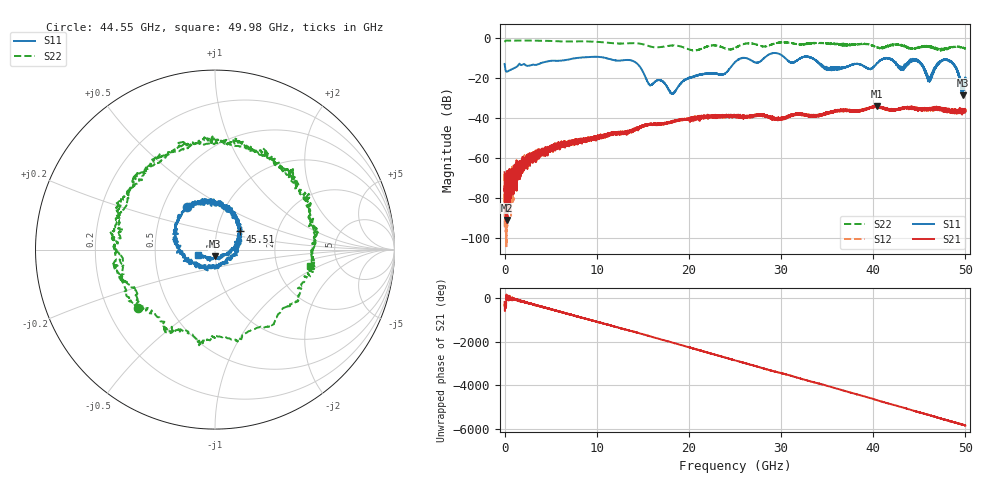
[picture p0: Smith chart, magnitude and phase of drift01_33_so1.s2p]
!Created with skrf (http://scikit-rf.org).
# Hz S RI R 50.0
!freq ReS11 ImS11 ReS21 ImS21 ReS12 ImS12 ReS22 ImS22
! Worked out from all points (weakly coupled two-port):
!   10001 points, 300 kHz to 50 GHz, reference 50 ohm
!   highest |S21| = -34.13 dB at 40.37 GHz (marker M1); lowest = -91.1 dB at 270.3 MHz (marker M2)
!   lowest |S11| = -28.7 dB at 49.72 GHz (marker M3), VSWR 1.08, Z = 50 - j3.69 ohm
!   |S11| at or under -10 dB: start of sweep to 8.055 GHz; 10.89 GHz to 26 GHz (15.11 GHz wide, 81.9 % of centre); 33.28 GHz to end of sweep (the widest 3 of 13)
!   |S22| runs from -6.4 to -1.4 dB; largest |S21 - S12| = 0.0035
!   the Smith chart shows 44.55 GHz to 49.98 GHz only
!   S11 on the Smith chart (normalised r, x): 44.55 GHz: 0.66, +0.34; 45.51 GHz: 1.29, +0.27; 49.98 GHz: 0.83, -0.05
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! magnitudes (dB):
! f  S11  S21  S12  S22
! 300 kHz  -13.1  -67.1  -68.1  -2.1
! 270.3 MHz  -16.9  -91.1  -75.8  -1.4
! 2.43 GHz  -14.0  -60.2  -61.0  -1.4
! 8.335 GHz  -9.9  -51.6  -51.7  -1.8
! 13.78 GHz  -11.4  -45.9  -46.4  -2.7
! 15.73 GHz  -23.4  -43.0  -43.3  -4.2
! 16.67 GHz  -21.2  -43.2  -43.2  -4.8
! 18.24 GHz  -27.8  -41.6  -41.8  -3.9
! 19.7 GHz  -20.5  -40.6  -40.8  -5.4
! 25 GHz  -12.2  -39.4  -39.7  -5.1
! 33.34 GHz  -10.1  -39.0  -38.8  -2.7
! 35.1 GHz  -15.0  -37.3  -37.4  -2.7
! 40.37 GHz  -13.0  -34.1  -34.4  -4.8
! 41.67 GHz  -10.4  -35.8  -36.1  -4.2
! 43.08 GHz  -14.9  -35.4  -35.5  -3.8
! 44.55 GHz  -10.9  -35.2  -35.2  -5.4
! 45.51 GHz  -15.3  -36.0  -35.9  -4.4
! 46.14 GHz  -21.5  -35.1  -35.5  -4.4
! 48.16 GHz  -11.1  -35.8  -36.1  -5.5
! 49.72 GHz  -28.7  -36.0  -36.3  -5.1
! 49.98 GHz  -20.3  -37.3  -37.4  -5.4
! 50 GHz  -20.5  -36.6  -36.0  -5.3
